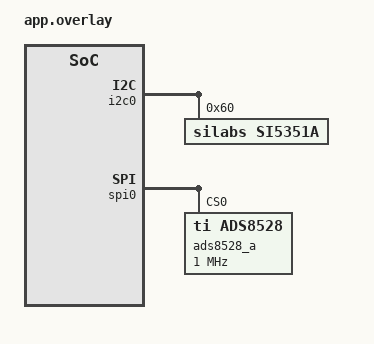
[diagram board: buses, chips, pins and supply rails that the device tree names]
/ {
	aliases {
		si5351 = &si5351a;
		adc = &ads8528_a;
	};
};

&i2c0 {
	status = "okay";

	si5351a: si5351a@60 {
		compatible = "silabs,si5351a";
		reg = <0x60>;
	};
};

&spi0 {
	status = "okay";

	ads8528_a: ads8528@0 {
		compatible = "ti,ads8528";
		reg = <0x0>;
		spi-max-frequency = <1000000>;
	};
};
